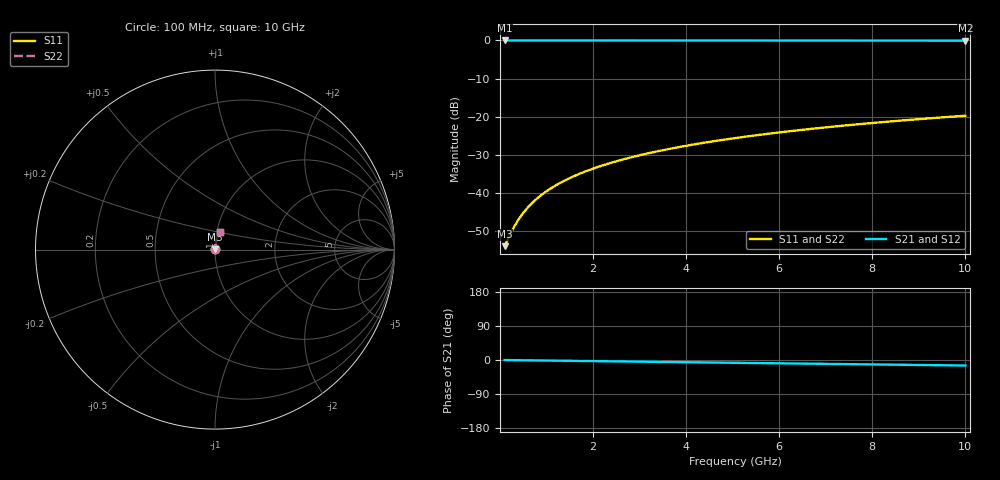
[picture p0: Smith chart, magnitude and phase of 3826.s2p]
# Hz S RI R 50.00
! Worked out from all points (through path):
!   100 points, 100 MHz to 10 GHz, reference 50 ohm
!   highest |S21| = -0.02 dB at 100 MHz (marker M1); lowest = -0.1 dB at 10 GHz (marker M2)
!   group delay of S21, straight-line fit = 4.06 ps
!   lowest |S11| = -53.9 dB at 100 MHz (marker M3), VSWR 1.00, Z = 50.2 + j0.104 ohm
!   |S11| at or under -10 dB: start of sweep to end of sweep
!   |S22| runs from -53.9 to -19.7 dB; largest |S21 - S12| = 1e-13
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1e8  0.00173 0.00104  0.9983 -0.00254  0.9983 -0.00254  0.00173 0.00104
2e8  0.00175 0.00208  0.9982 -0.00508  0.9982 -0.00508  0.00175 0.00208
3e8  0.00177 0.00311  0.9982 -0.00762  0.9982 -0.00762  0.00177 0.00311
4e8  0.00179 0.00415  0.9982 -0.0102  0.9982 -0.0102  0.00179 0.00415
5e8  0.00182 0.00519  0.9981 -0.0127  0.9981 -0.0127  0.00182 0.00519
6e8  0.00186 0.00622  0.9981 -0.0152  0.9981 -0.0152  0.00186 0.00622
7e8  0.0019 0.00726  0.998 -0.0178  0.998 -0.0178  0.0019 0.00726
9e8  0.00199 0.00933  0.9979 -0.0229  0.9979 -0.0229  0.00199 0.00933
1e9  0.00204 0.0104  0.9978 -0.0254  0.9978 -0.0254  0.00204 0.0104
1.2e9  0.00216 0.0124  0.9977 -0.0305  0.9977 -0.0305  0.00216 0.0124
1.5e9  0.00238 0.0155  0.9973 -0.0381  0.9973 -0.0381  0.00238 0.0155
1.8e9  0.00265 0.0186  0.997 -0.0457  0.997 -0.0457  0.00265 0.0186
2.1e9  0.00297 0.0217  0.9965 -0.0533  0.9965 -0.0533  0.00297 0.0217
2.5e9  0.00346 0.0259  0.9958 -0.0635  0.9958 -0.0635  0.00346 0.0259
2.9e9  0.00403 0.03  0.995 -0.0736  0.995 -0.0736  0.00403 0.03
3.4e9  0.00487 0.0351  0.9938 -0.0863  0.9938 -0.0863  0.00487 0.0351
4.2e9  0.00648 0.0432  0.9915 -0.1065  0.9915 -0.1065  0.00648 0.0432
5.1e9  0.00868 0.0523  0.9883 -0.1291  0.9883 -0.1291  0.00868 0.0523
5.9e9  0.011 0.0603  0.985 -0.1492  0.985 -0.1492  0.011 0.0603
6.7e9  0.0136 0.0681  0.9812 -0.1692  0.9812 -0.1692  0.0136 0.0681
8.4e9  0.0203 0.0845  0.9715 -0.2113  0.9715 -0.2113  0.0203 0.0845
1e10  0.0278 0.0993  0.9606 -0.2503  0.9606 -0.2503  0.0278 0.0993
